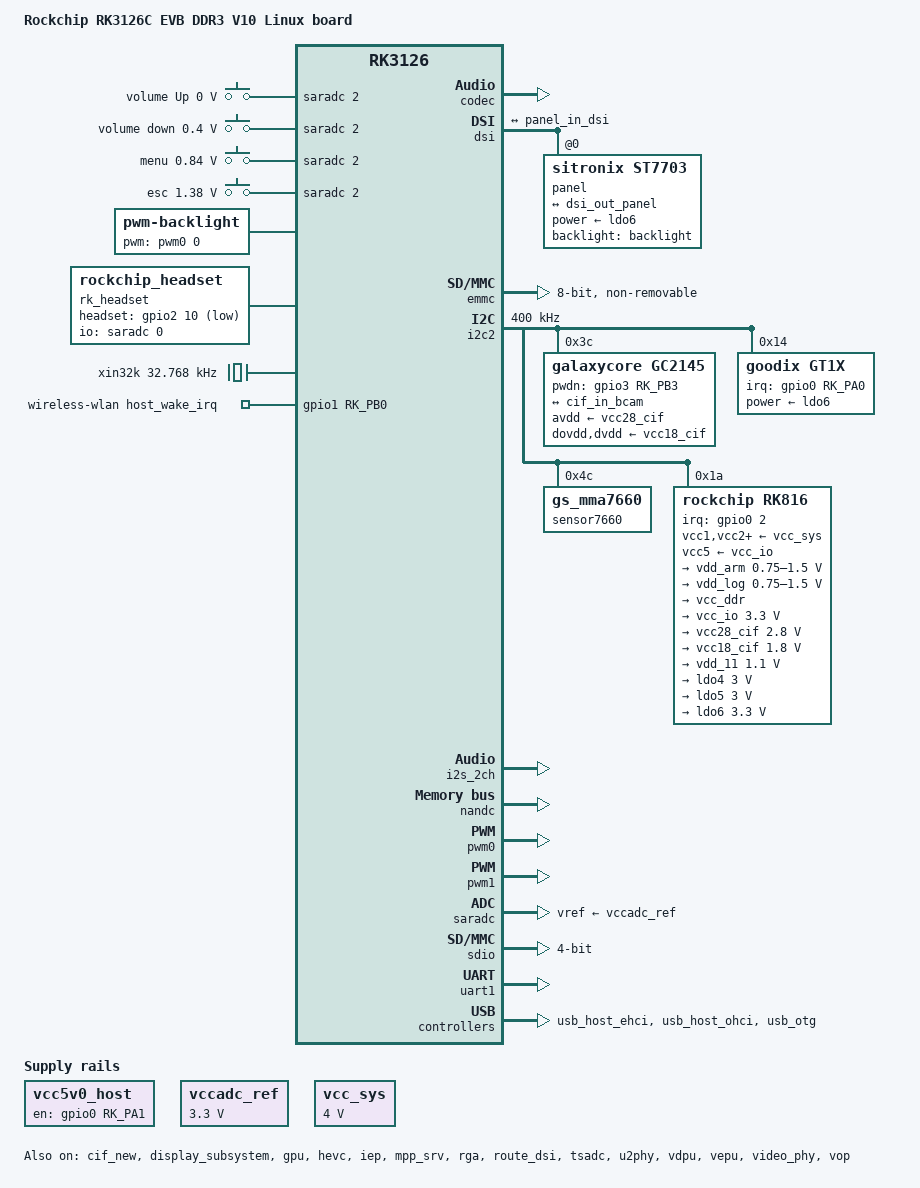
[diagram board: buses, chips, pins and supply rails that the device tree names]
// SPDX-License-Identifier: (GPL-2.0+ OR MIT)
/*
 * Copyright (c) 2022 Rockchip Electronics Co., Ltd
 */

/dts-v1/;
#include <dt-bindings/gpio/gpio.h>
#include <dt-bindings/input/input.h>
#include <dt-bindings/pinctrl/rockchip.h>
#include <dt-bindings/pwm/pwm.h>
#include <dt-bindings/sensor-dev.h>
#include "rk3126.dtsi"
#include "rk312x-android.dtsi"

/ {
	model = "Rockchip RK3126C EVB DDR3 V10 Linux board";
	compatible = "rockchip,rk3126";

	chosen {
		bootargs = "root=PARTUUID=614e0000-0000-4b53-8000-1d28000054a9 rootwait";
	};

	adc-keys {
		compatible = "adc-keys";
		io-channels = <&saradc 2>;
		io-channel-names = "buttons";
		poll-interval = <100>;
		keyup-threshold-microvolt = <3300000>;

		vol-up-key {
			label = "volume Up";
			linux,code = <KEY_VOLUMEUP>;
			press-threshold-microvolt = <0>;
		};

		vol-down-key{
			label = "volume down";
			linux,code = <KEY_VOLUMEDOWN>;
			press-threshold-microvolt = <400000>;
		};

		menu-key{
			label = "menu";
			linux,code = <KEY_MENU>;
			press-threshold-microvolt = <840000>;
		};

		esc-key {
			label = "esc";
			linux,code = <KEY_ESC>;
			press-threshold-microvolt = <1380000>;
		};
	};

	backlight: backlight {
		compatible = "pwm-backlight";
		pwms = <&pwm0 0 25000 0>;
		brightness-levels = <0 1 2 3 4 5 6 7 8 9 10 11 12 13 14 15 16
			17 18 19 20 21 22 23 24 25 26 27 28 29 30 31 32 33 34
			35 36 37 38 39 40 41 42 43 44 45 46 47 48 49 50 51 52
			53 54 55 56 57 58 59 60 61 62 63 64 65 66 67 68 69 70
			71 72 73 74 75 76 77 78 79 80 81 82 83 84 85 86 87 88
			89 90 91 92 93 94 95 96 97 98 99 100 101 102 103 104
			105 106 107 108 109 110 111 112 113 114 115 116 117
			118 119 120 121 122 123 124 125 126 127 128 129 130
			131 132 133 134 135 136 137 138 139 140 141 142 143
			144 145 146 147 148 149 150 151 152 153 154 155 156
			157 158 159 160 161 162 163 164 165 166 167 168 169
			170 171 172 173 174 175 176 177 178 179 180 181 182
			183 184 185 186 187 188 189 190 191 192 193 194 195
			196 197 198 199 200 201 202 203 204 205 206 207 208
			209 210 211 212 213 214 215 216 217 218 219 220 221
			222 223 224 225 226 227 228 229 230 231 232 233 234
			235 236 237 238 239 240 241 242 243 244 245 246 247
			248 249 250 251 252 253 254 255>;
		default-brightness-level = <128>;
	};

	rk_headset {
		compatible = "rockchip_headset";
		headset_gpio = <&gpio2 10 GPIO_ACTIVE_LOW>;
		io-channels = <&saradc 0>;
	};

	sound {
		compatible = "simple-audio-card";
		simple-audio-card,format = "i2s";
		simple-audio-card,mclk-fs = <256>;
		simple-audio-card,name = "rockchip,rk312x";
		simple-audio-card,cpu {
			sound-dai = <&i2s_2ch>;
		};
		simple-audio-card,codec {
			sound-dai = <&codec>;
		};
	};

	vcc5v0_host: vcc5v0-host {
		compatible = "regulator-fixed";
		regulator-name = "vcc5v0_host";
		pinctrl-names = "default";
		pinctrl-0 = <&usb_hub_h>;
		gpio = <&gpio0 RK_PA1 GPIO_ACTIVE_LOW>;
		enable-active-high;
	};

	vccadc_ref: vccadc-ref {
		compatible = "regulator-fixed";
		regulator-name = "SARADC_AVDD33";
		regulator-always-on;
		regulator-boot-on;
		regulator-min-microvolt = <3300000>;
		regulator-max-microvolt = <3300000>;
	};

	vcc_sys: vcc-sys {
		compatible = "regulator-fixed";
		regulator-name = "vcc_sys";
		regulator-min-microvolt = <4000000>;
		regulator-max-microvolt = <4000000>;
		regulator-always-on;
	};

	xin32k: xin32k {
		compatible = "fixed-clock";
		clock-frequency = <32768>;
		clock-output-names = "xin32k";
		#clock-cells = <0>;
	};

	wireless-wlan {
		compatible = "wlan-platdata";
		power_ctrl_by_pmu;
		power_pmu_regulator = "ldo5";
		power_pmu_enable_level = <1>;
		wifi_chip_type = "rk915";
		WIFI,host_wake_irq = <&gpio1 RK_PB0 GPIO_ACTIVE_HIGH>;
		status = "okay";
	};
};

&cif_new {
	status = "okay";

	ports {
		port@0 {
			cif_in_fcam: endpoint@0 {
				remote-endpoint =  <&gc0312_out>;
				vsync-active = <1>;
				hsync-active = <1>;
			};

			cif_in_bcam: endpoint@1 {
				remote-endpoint = <&gc2145_out>;
				vsync-active = <0>;
				hsync-active = <1>;
			};
		};
	};
};

&codec {
	#sound-dai-cells = <0>;
	spk-ctl-gpios = <&gpio2 9 GPIO_ACTIVE_HIGH>;
	spk-mute-delay = <200>;
	hp-mute-delay = <100>;
	rk312x_for_mid = <0>;
	is_rk3128 = <0>;
	spk_volume = <25>;
	hp_volume = <25>;
	capture_volume = <26>;
	gpio_debug = <1>;
	codec_hp_det = <0>;
	status = "okay";
};

&cpu0 {
	cpu-supply = <&vdd_arm>;
};

&display_subsystem {
	status = "okay";
};

&dmc {
	center-supply = <&vdd_log>;
};

&dsi {
	status = "okay";

	panel@0 {
		compatible = "sitronix,st7703", "simple-panel-dsi";
		reg = <0>;
		backlight = <&backlight>;
		power-supply = <&ldo6>;
		power-invert = <1>;
		prepare-delay-ms = <0>;
		reset-delay-ms = <0>;
		init-delay-ms = <80>;
		enable-delay-ms = <0>;
		disable-delay-ms = <10>;
		unprepare-delay-ms = <60>;

		width-mm = <68>;
		height-mm = <121>;

		dsi,flags = <(MIPI_DSI_MODE_VIDEO | MIPI_DSI_MODE_VIDEO_BURST |
			      MIPI_DSI_MODE_LPM | MIPI_DSI_MODE_EOT_PACKET)>;
		dsi,format = <MIPI_DSI_FMT_RGB888>;
		dsi,lanes = <4>;

		panel-init-sequence = [
			39 00 04 ff 98 81 03
			15 00 02 01 00
			15 00 02 02 00
			15 00 02 03 53
			15 00 02 04 53
			15 00 02 05 13
			15 00 02 06 04
			15 00 02 07 02
			15 00 02 08 02
			15 00 02 09 00
			15 00 02 0a 00
			15 00 02 0b 00
			15 00 02 0c 00
			15 00 02 0d 00
			15 00 02 0e 00
			15 00 02 0f 00

			15 00 02 10 00
			15 00 02 11 00
			15 00 02 12 00
			15 00 02 13 00
			15 00 02 14 00
			15 00 02 15 08
			15 00 02 16 10
			15 00 02 17 00
			15 00 02 18 08
			15 00 02 19 00
			15 00 02 1a 00
			15 00 02 1b 00
			15 00 02 1c 00
			15 00 02 1d 00
			15 00 02 1e c0
			15 00 02 1f 80

			15 00 02 20 02
			15 00 02 21 09
			15 00 02 22 00
			15 00 02 23 00
			15 00 02 24 00
			15 00 02 25 00
			15 00 02 26 00
			15 00 02 27 00
			15 00 02 28 55
			15 00 02 29 03
			15 00 02 2a 00
			15 00 02 2b 00
			15 00 02 2c 00
			15 00 02 2d 00
			15 00 02 2e 00
			15 00 02 2f 00

			15 00 02 30 00
			15 00 02 31 00
			15 00 02 32 00
			15 00 02 33 00
			15 00 02 34 04
			15 00 02 35 05
			15 00 02 36 05
			15 00 02 37 00
			15 00 02 38 3c
			15 00 02 39 35
			15 00 02 3a 00
			15 00 02 3b 40
			15 00 02 3c 00
			15 00 02 3d 00
			15 00 02 3e 00
			15 00 02 3f 00

			15 00 02 40 00
			15 00 02 41 88
			15 00 02 42 00
			15 00 02 43 00
			15 00 02 44 1f

			15 00 02 50 01
			15 00 02 51 23
			15 00 02 52 45
			15 00 02 53 67
			15 00 02 54 89
			15 00 02 55 ab
			15 00 02 56 01
			15 00 02 57 23
			15 00 02 58 45
			15 00 02 59 67
			15 00 02 5a 89
			15 00 02 5b ab
			15 00 02 5c cd
			15 00 02 5d ef
			15 00 02 5e 03
			15 00 02 5f 14

			15 00 02 60 15
			15 00 02 61 0c
			15 00 02 62 0d
			15 00 02 63 0e
			15 00 02 64 0f
			15 00 02 65 10
			15 00 02 66 11
			15 00 02 67 08
			15 00 02 68 02
			15 00 02 69 0a
			15 00 02 6a 02
			15 00 02 6b 02
			15 00 02 6c 02
			15 00 02 6d 02
			15 00 02 6e 02
			15 00 02 6f 02

			15 00 02 70 02
			15 00 02 71 02
			15 00 02 72 06
			15 00 02 73 02
			15 00 02 74 02
			15 00 02 75 14
			15 00 02 76 15
			15 00 02 77 0f
			15 00 02 78 0e
			15 00 02 79 0d
			15 00 02 7a 0c
			15 00 02 7b 11
			15 00 02 7c 10
			15 00 02 7d 06
			15 00 02 7e 02
			15 00 02 7f 0a

			15 00 02 80 02
			15 00 02 81 02
			15 00 02 82 02
			15 00 02 83 02
			15 00 02 84 02
			15 00 02 85 02
			15 00 02 86 02
			15 00 02 87 02
			15 00 02 88 08
			15 00 02 89 02
			15 00 02 8a 02

			39 00 04 ff 98 81 04
			15 00 02 00 80
			15 00 02 70 00
			15 00 02 71 00
			15 00 02 66 fe
			15 00 02 82 15
			15 00 02 84 15
			15 00 02 85 15
			15 00 02 3a 24
			15 00 02 32 ac
			15 00 02 8c 80
			15 00 02 3c f5
			15 00 02 88 33

			39 00 04 ff 98 81 01
			15 00 02 22 0a
			15 00 02 31 00
			15 00 02 53 78
			15 00 02 50 5b
			15 00 02 51 5b
			15 00 02 60 20
			15 00 02 61 00
			15 00 02 62 0d
			15 00 02 63 00

			15 00 02 a0 00
			15 00 02 a1 10
			15 00 02 a2 1c
			15 00 02 a3 13
			15 00 02 a4 15
			15 00 02 a5 26
			15 00 02 a6 1a
			15 00 02 a7 1d
			15 00 02 a8 67
			15 00 02 a9 1c
			15 00 02 aa 29
			15 00 02 ab 5b
			15 00 02 ac 26
			15 00 02 ad 28
			15 00 02 ae 5c
			15 00 02 af 30
			15 00 02 b0 31
			15 00 02 b1 2e
			15 00 02 b2 32
			15 00 02 b3 00

			15 00 02 c0 00
			15 00 02 c1 10
			15 00 02 c2 1c
			15 00 02 c3 13
			15 00 02 c4 15
			15 00 02 c5 26
			15 00 02 c6 1a
			15 00 02 c7 1d
			15 00 02 c8 67
			15 00 02 c9 1c
			15 00 02 ca 29
			15 00 02 cb 5b
			15 00 02 cc 26
			15 00 02 cd 28
			15 00 02 ce 5c
			15 00 02 cf 30
			15 00 02 d0 31
			15 00 02 d1 2e
			15 00 02 d2 32
			15 00 02 d3 00
			39 00 04 ff 98 81 00
			05 00 01 11
			05 01 01 29
		];

		panel-exit-sequence = [
			05 00 01 28
			05 00 01 10
		];

		display-timings {
			native-mode = <&timing0>;

			timing0: timing0 {
				clock-frequency = <66000000>;
				hactive = <720>;
				vactive = <1280>;
				hfront-porch = <40>;
				hsync-len = <10>;
				hback-porch = <40>;
				vfront-porch = <22>;
				vsync-len = <4>;
				vback-porch = <11>;
				hsync-active = <0>;
				vsync-active = <0>;
				de-active = <0>;
				pixelclk-active = <0>;
			};
		};

		ports {
			#address-cells = <1>;
			#size-cells = <0>;

			port@0 {
				reg = <0>;
				panel_in_dsi: endpoint {
					remote-endpoint = <&dsi_out_panel>;
				};
			};
		};
	};

	ports {
		#address-cells = <1>;
		#size-cells = <0>;

		port@1 {
			reg = <1>;
			dsi_out_panel: endpoint {
				remote-endpoint = <&panel_in_dsi>;
			};
		};
	};
};

&emmc {
	bus-width = <8>;
	cap-mmc-highspeed;
	supports-emmc;
	disable-wp;
	non-removable;
	num-slots = <1>;
	status = "okay";
};

&gpu {
	status = "okay";
	mali-supply = <&vdd_log>;
};

&hevc {
	status = "okay";
};

&hevc_mmu {
	status = "okay";
};

&i2c2 {
	status = "okay";
	clock-frequency = <400000>;

	gc0312@21 {
		status = "disabled";
		compatible = "galaxycore,gc0312";
		reg = <0x21>;

		clocks = <&cru SCLK_CIF_OUT>;
		clock-names = "xvclk";

		avdd-supply = <&vcc28_cif>;
		dovdd-supply = <&vcc18_cif>;
		dvdd-supply = <&vcc18_cif>;

		pwdn-gpios = <&gpio3 RK_PB3 GPIO_ACTIVE_HIGH>;
		port {
			gc0312_out: endpoint {
				remote-endpoint = <&cif_in_fcam>;
			};
		};
	};

	gc2145@3c {
		status = "okay";
		compatible = "galaxycore,gc2145";
		reg = <0x3c>;

		clocks = <&cru SCLK_CIF_OUT>;
		clock-names = "xvclk";
		pwdn-gpios = <&gpio3 RK_PB3 GPIO_ACTIVE_HIGH>;

		avdd-supply = <&vcc28_cif>;
		dovdd-supply = <&vcc18_cif>;
		dvdd-supply = <&vcc18_cif>;

		rockchip,camera-module-index = <0>;
		rockchip,camera-module-facing = "back";
		rockchip,camera-module-name = "CameraKing";
		rockchip,camera-module-lens-name = "Largan";

		port {
			gc2145_out: endpoint {
				remote-endpoint = <&cif_in_bcam>;
			};
		};
	};

	gt1x: gt1x@14 {
		compatible = "goodix,gt1x";
		reg = <0x14>;
		power-supply = <&ldo6>;
		power-invert = <1>;
		goodix,irq-gpio = <&gpio0 RK_PA0 IRQ_TYPE_LEVEL_LOW>;
		status = "okay";
	};

	sensor7660@4c {
		status = "okay";
		compatible = "gs_mma7660";
		reg = <0x4c>;
		type = <SENSOR_TYPE_ACCEL>;
		irq_enable = <0>;
		poll_delay_ms = <30>;
		layout = <8>;
		reprobe_en = <1>;
	};

	rk816: pmic@1a {
		compatible = "rockchip,rk816";
		reg = <0x1a>;
		status = "okay";
		interrupt-parent = <&gpio0>;
		interrupts = <2 IRQ_TYPE_LEVEL_LOW>;
		pinctrl-names = "default";
		pinctrl-0 = <&pmic_int_l>;
		rockchip,system-power-controller;
		wakeup-source;
		gpio-controller;
		#gpio-cells = <2>;
		#clock-cells = <1>;
		clock-output-names = "rk816-clkout1", "rk816-clkout2";
		extcon = <&u2phy>;

		vcc1-supply = <&vcc_sys>;
		vcc2-supply = <&vcc_sys>;
		vcc3-supply = <&vcc_sys>;
		vcc4-supply = <&vcc_sys>;
		vcc5-supply = <&vcc_io>;
		vcc6-supply = <&vcc_sys>;

		gpio {
			status = "okay";
		};

		pwrkey {
			status = "okay";
		};

		rtc {
			status = "okay";
		};

		battery {
			compatible = "rk816-battery";
			ocv_table = < 3500 3625 3685 3697 3718 3735 3748
					3760 3774 3788 3802 3816 3834 3853
					3877 3908 3946 3975 4018 4071 4106>;
			design_capacity = <2500>;
			design_qmax = <2750>;
			bat_res = <100>;
			max_input_current = <1500>;
			max_chrg_current = <1300>;
			max_chrg_voltage = <4200>;
			sleep_enter_current = <300>;
			sleep_exit_current = <300>;
			sleep_filter_current = <100>;
			power_off_thresd = <3500>;
			zero_algorithm_vol = <3850>;
			max_soc_offset = <60>;
			monitor_sec = <5>;
			virtual_power = <0>;
			power_dc2otg = <0>;
			dc_det_adc = <0>;
		};

		regulators {

			vdd_arm: DCDC_REG1{
				regulator-name= "vdd_arm";
				regulator-min-microvolt = <750000>;
				regulator-max-microvolt = <1500000>;
				regulator-ramp-delay = <6001>;
				regulator-initial-mode = <1>;
				regulator-always-on;
				regulator-boot-on;
				regulator-state-mem {
					regulator-off-in-suspend;
					regulator-suspend-microvolt = <900000>;
				};
			};

			vdd_log: DCDC_REG2 {
				regulator-name= "vdd_logic";
				regulator-min-microvolt = <750000>;
				regulator-max-microvolt = <1500000>;
				regulator-ramp-delay = <6001>;
				regulator-initial-mode = <1>;
				regulator-always-on;
				regulator-boot-on;
				regulator-state-mem {
					regulator-on-in-suspend;
					regulator-suspend-microvolt = <1000000>;
				};
			};

			vcc_ddr: DCDC_REG3 {
				regulator-name = "vcc_ddr";
				regulator-always-on;
				regulator-boot-on;
				regulator-initial-mode = <1>;
			};

			vcc_io: DCDC_REG4 {
				regulator-name = "vcc_io";
				regulator-min-microvolt = <3300000>;
				regulator-max-microvolt = <3300000>;
				regulator-initial-mode = <1>;
				regulator-always-on;
				regulator-boot-on;
				regulator-state-mem {
					regulator-on-in-suspend;
					regulator-suspend-microvolt = <3000000>;
				};
			};

			vcc28_cif: LDO_REG1 {
				regulator-name = "vcc28_cif";
				regulator-min-microvolt = <2800000>;
				regulator-max-microvolt = <2800000>;
				regulator-always-on;
				regulator-boot-on;
				regulator-state-mem {
					regulator-off-in-suspend;
				};
			};

			vcc18_cif: LDO_REG2 {
				regulator-name = "vcc18_cif";
				regulator-min-microvolt = <1800000>;
				regulator-max-microvolt = <1800000>;
				regulator-always-on;
				regulator-boot-on;
				regulator-state-mem {
					regulator-off-in-suspend;
				};
			};

			vdd_11: LDO_REG3 {
				regulator-name = "vdd_11";
				regulator-min-microvolt = <1100000>;
				regulator-max-microvolt = <1100000>;
				regulator-always-on;
				regulator-boot-on;
				regulator-state-mem {
					regulator-on-in-suspend;
					regulator-suspend-microvolt = <1100000>;
				};
			};

			ldo4: LDO_REG4 {
				regulator-name= "ldo4";
				regulator-min-microvolt = <3000000>;
				regulator-max-microvolt = <3000000>;
				regulator-always-on;
				regulator-boot-on;
				regulator-state-mem {
					regulator-off-in-suspend;
				};
			};

			ldo5: LDO_REG5 {
				regulator-name= "ldo5";
				regulator-min-microvolt = <3000000>;
				regulator-max-microvolt = <3000000>;
				regulator-boot-on;
				regulator-state-mem {
					regulator-off-in-suspend;
				};
			};

			ldo6: LDO_REG6 {
				regulator-name= "ldo6";
				regulator-min-microvolt = <3300000>;
				regulator-max-microvolt = <3300000>;
				regulator-state-mem {
					regulator-on-in-suspend;
					regulator-suspend-microvolt = <3300000>;
				};
			};
		};
	};
};

&i2s_2ch {
	#sound-dai-cells = <0>;
	status = "okay";
};

&iep {
	status = "okay";
};

&iep_mmu {
	status = "okay";
};

&mpp_srv {
	status = "okay";
};

&nandc {
	status = "okay";
};

&pinctrl {
	pmic {
		pmic_int_l: pmic-int-l {
			rockchip,pins =
				<0 RK_PA2 0 &pcfg_pull_default>;
		};
	};

	usb2 {
		usb_hub_h: usb-hub-h {
			rockchip,pins =
				<0 RK_PA1 0 &pcfg_pull_none>;
		};
	};
};

&pwm0 {
	status = "okay";
};

&pwm1 {
	status = "okay";
};

&rga {
	status = "okay";
};

&route_dsi{
	status = "okay";
};

&saradc {
	status = "okay";
	vref-supply = <&vccadc_ref>;
};

&sdio {
	bus-width = <4>;
	max-frequency = <50000000>;
	cap-sd-highspeed;
	supports-sdio;
	ignore-pm-notify;
	keep-power-in-suspend;
	supports-rk912;
	/delete-property/ non-removable;
	status = "okay";
};

&sdmmc {
	cap-mmc-highspeed;
	supports-sd;
	card-detect-delay = <800>;
	ignore-pm-notify;
	keep-power-in-suspend;
	cd-gpios = <&gpio1 11 GPIO_ACTIVE_LOW>; /* CD GPIO */
	status = "disabled";
};

&tsadc {
	status = "okay";
};

&u2phy {
	status = "okay";

	u2phy_otg: otg-port {
		status = "okay";
	};

	u2phy_host: host-port {
		phy-supply = <&vcc5v0_host>;
		status = "okay";
	};
};

&uart1 {
	pinctrl-names = "default";
	pinctrl-0 = <&uart1_xfer>;
	status = "okay";
};

&usb_host_ehci {
	status = "okay";
};

&usb_host_ohci {
	status = "okay";
};

&usb_otg {
	status = "okay";
};

&vdpu {
	status = "okay";
};

&vepu {
	status = "okay";
};

&video_phy {
	status = "okay";
};

&vop {
	status = "okay";
};

&vop_mmu {
	status = "okay";
};

&vpu_mmu {
	status = "okay";
};
